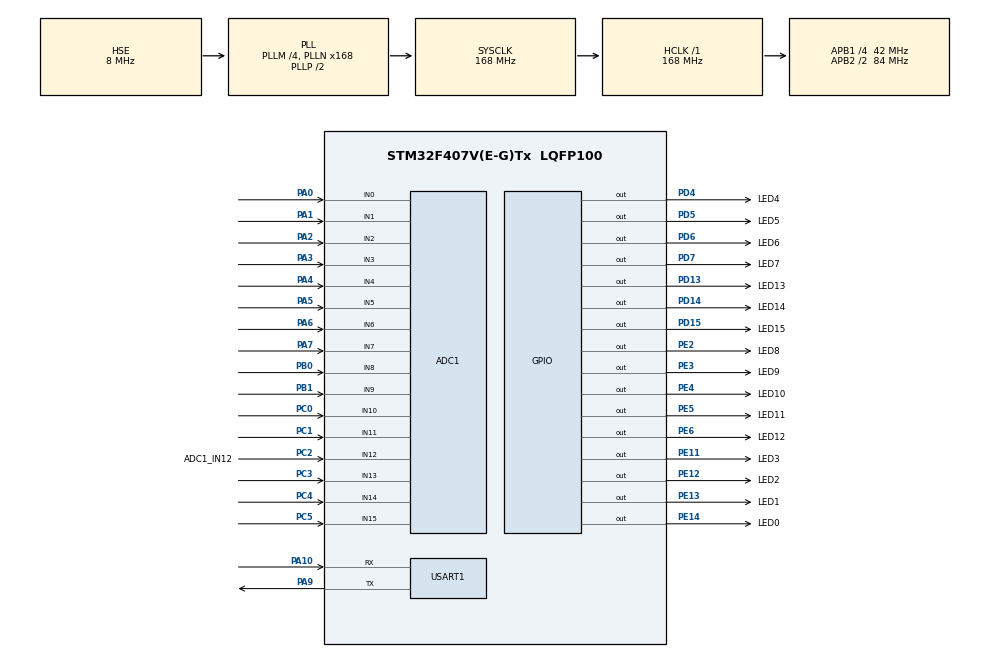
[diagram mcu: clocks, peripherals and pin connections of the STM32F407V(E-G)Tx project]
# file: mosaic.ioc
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ADC1.Channel-0\#ChannelRegularConversion=ADC_CHANNEL_0
ADC1.Channel-1\#ChannelRegularConversion=ADC_CHANNEL_1
ADC1.Channel-10\#ChannelRegularConversion=ADC_CHANNEL_10
ADC1.Channel-11\#ChannelRegularConversion=ADC_CHANNEL_11
ADC1.Channel-12\#ChannelRegularConversion=ADC_CHANNEL_12
ADC1.Channel-13\#ChannelRegularConversion=ADC_CHANNEL_13
ADC1.Channel-14\#ChannelRegularConversion=ADC_CHANNEL_14
ADC1.Channel-15\#ChannelRegularConversion=ADC_CHANNEL_15
ADC1.Channel-2\#ChannelRegularConversion=ADC_CHANNEL_2
ADC1.Channel-3\#ChannelRegularConversion=ADC_CHANNEL_3
ADC1.Channel-4\#ChannelRegularConversion=ADC_CHANNEL_4
ADC1.Channel-5\#ChannelRegularConversion=ADC_CHANNEL_5
ADC1.Channel-6\#ChannelRegularConversion=ADC_CHANNEL_6
ADC1.Channel-7\#ChannelRegularConversion=ADC_CHANNEL_7
ADC1.Channel-8\#ChannelRegularConversion=ADC_CHANNEL_8
ADC1.Channel-9\#ChannelRegularConversion=ADC_CHANNEL_9
ADC1.ContinuousConvMode=ENABLE
ADC1.DMAContinuousRequests=ENABLE
ADC1.NbrOfConversion=16
ADC1.NbrOfConversionFlag=1
ADC1.Rank-0\#ChannelRegularConversion=1
ADC1.Rank-1\#ChannelRegularConversion=2
ADC1.Rank-10\#ChannelRegularConversion=11
ADC1.Rank-11\#ChannelRegularConversion=12
ADC1.Rank-12\#ChannelRegularConversion=13
ADC1.Rank-13\#ChannelRegularConversion=14
ADC1.Rank-14\#ChannelRegularConversion=15
ADC1.Rank-15\#ChannelRegularConversion=16
ADC1.Rank-2\#ChannelRegularConversion=3
ADC1.Rank-3\#ChannelRegularConversion=4
ADC1.Rank-4\#ChannelRegularConversion=5
ADC1.Rank-5\#ChannelRegularConversion=6
ADC1.Rank-6\#ChannelRegularConversion=7
ADC1.Rank-7\#ChannelRegularConversion=8
ADC1.Rank-8\#ChannelRegularConversion=9
ADC1.Rank-9\#ChannelRegularConversion=10
ADC1.SamplingTime-0\#ChannelRegularConversion=ADC_SAMPLETIME_84CYCLES
ADC1.SamplingTime-1\#ChannelRegularConversion=ADC_SAMPLETIME_84CYCLES
ADC1.SamplingTime-10\#ChannelRegularConversion=ADC_SAMPLETIME_84CYCLES
ADC1.SamplingTime-11\#ChannelRegularConversion=ADC_SAMPLETIME_84CYCLES
ADC1.SamplingTime-12\#ChannelRegularConversion=ADC_SAMPLETIME_84CYCLES
ADC1.SamplingTime-13\#ChannelRegularConversion=ADC_SAMPLETIME_84CYCLES
ADC1.SamplingTime-14\#ChannelRegularConversion=ADC_SAMPLETIME_84CYCLES
ADC1.SamplingTime-15\#ChannelRegularConversion=ADC_SAMPLETIME_84CYCLES
ADC1.SamplingTime-2\#ChannelRegularConversion=ADC_SAMPLETIME_84CYCLES
ADC1.SamplingTime-3\#ChannelRegularConversion=ADC_SAMPLETIME_84CYCLES
ADC1.SamplingTime-4\#ChannelRegularConversion=ADC_SAMPLETIME_84CYCLES
ADC1.SamplingTime-5\#ChannelRegularConversion=ADC_SAMPLETIME_84CYCLES
ADC1.SamplingTime-6\#ChannelRegularConversion=ADC_SAMPLETIME_84CYCLES
ADC1.SamplingTime-7\#ChannelRegularConversion=ADC_SAMPLETIME_84CYCLES
ADC1.SamplingTime-8\#ChannelRegularConversion=ADC_SAMPLETIME_84CYCLES
ADC1.SamplingTime-9\#ChannelRegularConversion=ADC_SAMPLETIME_84CYCLES
ADC1.ScanConvMode=ENABLE
ADC1.master=1
Dma.ADC1.0.Direction=DMA_PERIPH_TO_MEMORY
Dma.ADC1.0.FIFOMode=DMA_FIFOMODE_DISABLE
Dma.ADC1.0.Instance=DMA2_Stream0
Dma.ADC1.0.MemDataAlignment=DMA_MDATAALIGN_HALFWORD
Dma.ADC1.0.MemInc=DMA_MINC_ENABLE
Dma.ADC1.0.Mode=DMA_CIRCULAR
Dma.ADC1.0.PeriphDataAlignment=DMA_PDATAALIGN_HALFWORD
Dma.ADC1.0.PeriphInc=DMA_PINC_DISABLE
Dma.ADC1.0.Priority=DMA_PRIORITY_HIGH
Dma.Request0=ADC1
Mcu.Family=STM32F4
Mcu.Name=STM32F407V(E-G)Tx
Mcu.Package=LQFP100
NVIC.DMA2_Stream0_IRQn=true\:0\:0\:false\:false\:true\:false\:true\:true
NVIC.PriorityGroup=NVIC_PRIORITYGROUP_4
PA0-WKUP.Signal=ADCx_IN0
PA1.Signal=ADCx_IN1
PA10.Mode=Asynchronous
PA10.Signal=USART1_RX
PA13.Mode=Serial_Wire
PA13.Signal=SYS_JTMS-SWDIO
PA14.Mode=Serial_Wire
PA14.Signal=SYS_JTCK-SWCLK
PA2.Signal=ADCx_IN2
PA3.Signal=ADCx_IN3
PA4.Signal=ADCx_IN4
PA5.Signal=ADCx_IN5
PA6.Signal=ADCx_IN6
PA7.Signal=ADCx_IN7
PA9.Mode=Asynchronous
PA9.Signal=USART1_TX
PB0.Signal=ADCx_IN8
PB1.Signal=ADCx_IN9
PC0.Signal=ADCx_IN10
PC1.Signal=ADCx_IN11
PC2.GPIO_Label=ADC1_IN12
PC2.Signal=ADCx_IN12
PC3.Signal=ADCx_IN13
PC4.Signal=ADCx_IN14
PC5.Signal=ADCx_IN15
PD13.GPIO_Label=LED13
PD13.Signal=GPIO_Output
PD14.GPIO_Label=LED14
PD14.Signal=GPIO_Output
PD15.GPIO_Label=LED15
PD15.Signal=GPIO_Output
PD4.GPIO_Label=LED4
PD4.Signal=GPIO_Output
PD5.GPIO_Label=LED5
PD5.Signal=GPIO_Output
PD6.GPIO_Label=LED6
PD6.Signal=GPIO_Output
PD7.GPIO_Label=LED7
PD7.Signal=GPIO_Output
PE11.GPIO_Label=LED3
PE11.Signal=GPIO_Output
PE12.GPIO_Label=LED2
PE12.Signal=GPIO_Output
PE13.GPIO_Label=LED1
PE13.Signal=GPIO_Output
PE14.GPIO_Label=LED0
PE14.Signal=GPIO_Output
PE2.GPIO_Label=LED8
PE2.Signal=GPIO_Output
PE3.GPIO_Label=LED9
PE3.Signal=GPIO_Output
PE4.GPIO_Label=LED10
PE4.Signal=GPIO_Output
PE5.GPIO_Label=LED11
PE5.Signal=GPIO_Output
PE6.GPIO_Label=LED12
PE6.Signal=GPIO_Output
PH0-OSC_IN.Mode=HSE-External-Oscillator
PH0-OSC_IN.Signal=RCC_OSC_IN
PH1-OSC_OUT.Mode=HSE-External-Oscillator
PH1-OSC_OUT.Signal=RCC_OSC_OUT
ProjectManager.HeapSize=0x400
ProjectManager.StackSize=0xF00
ProjectManager.TargetToolchain=STM32CubeIDE
RCC.48MHZClocksFreq_Value=84000000
RCC.AHBFreq_Value=168000000
RCC.APB1CLKDivider=RCC_HCLK_DIV4
RCC.APB1Freq_Value=42000000
RCC.APB1TimFreq_Value=84000000
RCC.APB2CLKDivider=RCC_HCLK_DIV2
RCC.APB2Freq_Value=84000000
RCC.APB2TimFreq_Value=168000000
RCC.CortexFreq_Value=168000000
RCC.HCLKFreq_Value=168000000
RCC.HSE_VALUE=8000000
RCC.HSI_VALUE=16000000
RCC.LSE_VALUE=32768
RCC.PLLM=4
RCC.PLLN=168
RCC.PLLSourceVirtual=RCC_PLLSOURCE_HSE
RCC.SYSCLKFreq_VALUE=168000000
RCC.SYSCLKSource=RCC_SYSCLKSOURCE_PLLCLK
RCC.VCOOutputFreq_Value=336000000
SH.ADCx_IN0.0=ADC1_IN0,IN0
SH.ADCx_IN1.0=ADC1_IN1,IN1
SH.ADCx_IN10.0=ADC1_IN10,IN10
SH.ADCx_IN11.0=ADC1_IN11,IN11
SH.ADCx_IN12.0=ADC1_IN12,IN12
SH.ADCx_IN13.0=ADC1_IN13,IN13
SH.ADCx_IN14.0=ADC1_IN14,IN14
SH.ADCx_IN15.0=ADC1_IN15,IN15
SH.ADCx_IN2.0=ADC1_IN2,IN2
SH.ADCx_IN3.0=ADC1_IN3,IN3
SH.ADCx_IN4.0=ADC1_IN4,IN4
SH.ADCx_IN5.0=ADC1_IN5,IN5
SH.ADCx_IN6.0=ADC1_IN6,IN6
SH.ADCx_IN7.0=ADC1_IN7,IN7
SH.ADCx_IN8.0=ADC1_IN8,IN8
SH.ADCx_IN9.0=ADC1_IN9,IN9
USART1.Parity=PARITY_NONE
USART1.VirtualMode=VM_ASYNC
board=custom

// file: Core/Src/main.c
/* USER CODE BEGIN Header */
/**
  ******************************************************************************
  * @file           : main.c
  * @brief          : Main program body
  ******************************************************************************
  * @attention
  *
  * Copyright (c) 2026 STMicroelectronics.
  * All rights reserved.
  *
  * This software is licensed under terms that can be found in the LICENSE file
  * in the root directory of this software component.
  * If no LICENSE file comes with this software, it is provided AS-IS.
  *
  ******************************************************************************
  */
/* USER CODE END Header */
#include "main.h"
#include "adc.h"
#include "dma.h"
#include "usart.h"
#include "gpio.h"

/* USER CODE BEGIN Includes */
#include "uart_protocol.h"
#include "ultrasonic.h"
#include <stdlib.h>
/* USER CODE END Includes */

/* USER CODE BEGIN PV */
#define SENSOR_COUNT 16
volatile uint16_t ir_data[16];
volatile uint16_t ultrasonic_data[4];
/* USER CODE END PV */

void SystemClock_Config(void);
/* USER CODE BEGIN PFP */
void LED_Update(void);
void Ultrasonic_Update(void);
/* USER CODE END PFP */

int main(void)
{

  /* MCU Configuration--------------------------------------------------------*/

  /* Reset of all peripherals, Initializes the Flash interface and the Systick. */
  HAL_Init();

  /* Configure the system clock */
  SystemClock_Config();

  /* Initialize all configured peripherals */
  MX_GPIO_Init();
  MX_DMA_Init();
  MX_USART1_UART_Init();
  MX_ADC1_Init();
  /* USER CODE BEGIN 2 */
  mosaic_send_init(&huart1);
  /* USER CODE END 2 */
  HAL_ADC_Start_DMA(&hadc1, (uint32_t*)ir_data, SENSOR_COUNT);
  /* Infinite loop */
  while (1)
  {

    /* USER CODE BEGIN 3 */
	  LED_Update();
	  Ultrasonic_Update();
	  for (int i = 0; i < 4; i++) ultrasonic_data[i] = (uint16_t)rand();
	  if (mosaic_send_sensors(ir_data, ultrasonic_data)){

	  }
	  HAL_Delay(20);
  }
  /* USER CODE END 3 */
}

void SystemClock_Config(void)
{
  RCC_OscInitTypeDef RCC_OscInitStruct = {0};
  RCC_ClkInitTypeDef RCC_ClkInitStruct = {0};

  /** Configure the main internal regulator output voltage
  */
  __HAL_RCC_PWR_CLK_ENABLE();
  __HAL_PWR_VOLTAGESCALING_CONFIG(PWR_REGULATOR_VOLTAGE_SCALE1);

  /** Initializes the RCC Oscillators according to the specified parameters
  * in the RCC_OscInitTypeDef structure.
  */
  RCC_OscInitStruct.OscillatorType = RCC_OSCILLATORTYPE_HSE;
  RCC_OscInitStruct.HSEState = RCC_HSE_ON;
  RCC_OscInitStruct.PLL.PLLState = RCC_PLL_ON;
  RCC_OscInitStruct.PLL.PLLSource = RCC_PLLSOURCE_HSE;
  RCC_OscInitStruct.PLL.PLLM = 4;
  RCC_OscInitStruct.PLL.PLLN = 168;
  RCC_OscInitStruct.PLL.PLLP = RCC_PLLP_DIV2;
  RCC_OscInitStruct.PLL.PLLQ = 4;
  if (HAL_RCC_OscConfig(&RCC_OscInitStruct) != HAL_OK)
  {
    Error_Handler();
  }

  /** Initializes the CPU, AHB and APB buses clocks
  */
  RCC_ClkInitStruct.ClockType = RCC_CLOCKTYPE_HCLK|RCC_CLOCKTYPE_SYSCLK
                              |RCC_CLOCKTYPE_PCLK1|RCC_CLOCKTYPE_PCLK2;
  RCC_ClkInitStruct.SYSCLKSource = RCC_SYSCLKSOURCE_PLLCLK;
  RCC_ClkInitStruct.AHBCLKDivider = RCC_SYSCLK_DIV1;
  RCC_ClkInitStruct.APB1CLKDivider = RCC_HCLK_DIV4;
  RCC_ClkInitStruct.APB2CLKDivider = RCC_HCLK_DIV2;

  if (HAL_RCC_ClockConfig(&RCC_ClkInitStruct, FLASH_LATENCY_5) != HAL_OK)
  {
    Error_Handler();
  }
}

/* USER CODE BEGIN 4 */
void LED_Update(void){
	int min=16;
		  for(int i=0;i<SENSOR_COUNT;i++){
			  if(ir_data[i]<4095){
				  if(min==17){
					  min=i;
				  }
				  if (ir_data[i]<ir_data[min]){
					  min=i;
				  }
			  }
		  }
		  switch (min){
		  case 16:
			  break;
		  case 0:
			  HAL_GPIO_WritePin(LED0_GPIO_Port, LED0_Pin, RESET);
			  break;
		  case 1:
			  HAL_GPIO_WritePin(LED1_GPIO_Port, LED1_Pin, RESET);
			  break;
		  case 2:
			  HAL_GPIO_WritePin(LED2_GPIO_Port, LED2_Pin, RESET);
			  break;
		  case 3:
			  HAL_GPIO_WritePin(LED3_GPIO_Port, LED3_Pin, RESET);
			  break;
		  case 4:
			  HAL_GPIO_WritePin(LED4_GPIO_Port, LED4_Pin, RESET);
			  break;
		  case 5:
			  HAL_GPIO_WritePin(LED5_GPIO_Port, LED5_Pin, RESET);
			  break;
		  case 6:
			  HAL_GPIO_WritePin(LED6_GPIO_Port, LED6_Pin, RESET);
			  break;
		  case 7:
			  HAL_GPIO_WritePin(LED7_GPIO_Port, LED7_Pin, RESET);
			  break;
		  case 8:
			  HAL_GPIO_WritePin(LED8_GPIO_Port, LED8_Pin, RESET);
			  break;
		  case 9:
			  HAL_GPIO_WritePin(LED9_GPIO_Port, LED9_Pin, RESET);
			  break;
		  case 10:
			  HAL_GPIO_WritePin(LED10_GPIO_Port, LED10_Pin, RESET);
			  break;
		  case 11:
			  HAL_GPIO_WritePin(LED11_GPIO_Port, LED11_Pin, RESET);
			  break;
		  case 12:
			  HAL_GPIO_WritePin(LED12_GPIO_Port, LED12_Pin, RESET);
			  break;
		  case 13:
			  HAL_GPIO_WritePin(LED13_GPIO_Port, LED13_Pin, RESET);
			  break;
		  case 14:
			  HAL_GPIO_WritePin(LED14_GPIO_Port, LED14_Pin, RESET);
			  break;
		  case 15:
			  HAL_GPIO_WritePin(LED15_GPIO_Port, LED15_Pin, RESET);
			  break;
		  }
		  HAL_Delay(50);
		  HAL_GPIO_WritePin(LED0_GPIO_Port, LED0_Pin, SET);
		  HAL_GPIO_WritePin(LED1_GPIO_Port, LED1_Pin, SET);
		  HAL_GPIO_WritePin(LED2_GPIO_Port, LED2_Pin, SET);
		  HAL_GPIO_WritePin(LED3_GPIO_Port, LED3_Pin, SET);
		  HAL_GPIO_WritePin(LED4_GPIO_Port, LED4_Pin, SET);
		  HAL_GPIO_WritePin(LED5_GPIO_Port, LED5_Pin, SET);
		  HAL_GPIO_WritePin(LED6_GPIO_Port, LED6_Pin, SET);
		  HAL_GPIO_WritePin(LED7_GPIO_Port, LED7_Pin, SET);
		  HAL_GPIO_WritePin(LED8_GPIO_Port, LED8_Pin, SET);
		  HAL_GPIO_WritePin(LED9_GPIO_Port, LED9_Pin, SET);
		  HAL_GPIO_WritePin(LED10_GPIO_Port, LED10_Pin, SET);
		  HAL_GPIO_WritePin(LED11_GPIO_Port, LED11_Pin, SET);
		  HAL_GPIO_WritePin(LED12_GPIO_Port, LED12_Pin, SET);
		  HAL_GPIO_WritePin(LED13_GPIO_Port, LED13_Pin, SET);
		  HAL_GPIO_WritePin(LED14_GPIO_Port, LED14_Pin, SET);
		  HAL_GPIO_WritePin(LED15_GPIO_Port, LED15_Pin, SET);
}

void Ultrasonic_Update(void)
{
    static uint32_t us_timer = 0;
    static uint8_t us_state = 0; // 0 = Trigger, 1 = Wait

    // Sensor addresses
    static const uint8_t us_addrs[4] = {0x80, 0xD0, 0xD6, 0xD2};

    uint32_t current_time = HAL_GetTick();

    switch(us_state) {
        case 0: // STATE: TRIGGER
            for(int i = 0; i < 4; i++) {
                DYP_Trigger(us_addrs[i]);
            }
            // Capture time and move to wait state
            us_timer = current_time;
            us_state = 1;
            break;

        case 1: // STATE: WAIT
            // Check if set time has passed
            if ((current_time - us_timer) >= 160) {
                // Time is up, read data
                for(int i = 0; i < 4; i++) {
                    int16_t val = DYP_GetDistance(us_addrs[i]);

                    if(val > 0) {
                        ultrasonic_data[i] = (uint16_t)val;
                    } else {
                        ultrasonic_data[i] = 0; // Error or Out of Range
                    }
                }
                // Go back to Trigger state
                us_state = 0;
            }
            break;
    }
}
/* USER CODE END 4 */

void Error_Handler(void)
{
  __disable_irq();
  while (1)
  {
  }
}
